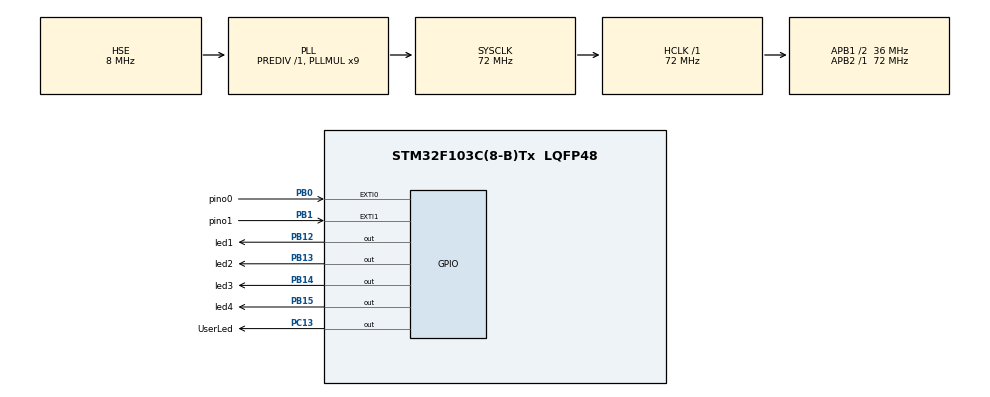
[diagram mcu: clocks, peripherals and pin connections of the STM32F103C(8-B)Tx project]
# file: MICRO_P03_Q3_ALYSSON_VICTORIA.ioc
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Mcu.Family=STM32F1
Mcu.Name=STM32F103C(8-B)Tx
Mcu.Package=LQFP48
NVIC.EXTI0_IRQn=true\:0\:0\:true\:false\:true\:true\:true\:true
NVIC.EXTI1_IRQn=true\:0\:0\:true\:false\:true\:true\:true\:true
NVIC.PriorityGroup=NVIC_PRIORITYGROUP_4
PA13.Mode=Serial_Wire
PA13.Signal=SYS_JTMS-SWDIO
PA14.Mode=Serial_Wire
PA14.Signal=SYS_JTCK-SWCLK
PB0.GPIO_Label=pino0
PB0.GPIO_ModeDefaultEXTI=GPIO_MODE_IT_FALLING
PB0.GPIO_PuPd=GPIO_PULLUP
PB0.Signal=GPXTI0
PB1.GPIO_Label=pino1
PB1.GPIO_ModeDefaultEXTI=GPIO_MODE_IT_FALLING
PB1.GPIO_PuPd=GPIO_PULLUP
PB1.Signal=GPXTI1
PB12.GPIO_Label=led1
PB12.GPIO_Speed=GPIO_SPEED_FREQ_LOW
PB12.PinState=GPIO_PIN_SET
PB12.Signal=GPIO_Output
PB13.GPIO_Label=led2
PB13.GPIO_Speed=GPIO_SPEED_FREQ_LOW
PB13.PinState=GPIO_PIN_SET
PB13.Signal=GPIO_Output
PB14.GPIO_Label=led3
PB14.GPIO_Speed=GPIO_SPEED_FREQ_LOW
PB14.PinState=GPIO_PIN_SET
PB14.Signal=GPIO_Output
PB15.GPIO_Label=led4
PB15.GPIO_Speed=GPIO_SPEED_FREQ_LOW
PB15.PinState=GPIO_PIN_SET
PB15.Signal=GPIO_Output
PC13-TAMPER-RTC.GPIO_Label=UserLed
PC13-TAMPER-RTC.PinState=GPIO_PIN_SET
PC13-TAMPER-RTC.Signal=GPIO_Output
PD0-OSC_IN.Mode=HSE-External-Oscillator
PD0-OSC_IN.Signal=RCC_OSC_IN
PD1-OSC_OUT.Mode=HSE-External-Oscillator
PD1-OSC_OUT.Signal=RCC_OSC_OUT
ProjectManager.HeapSize=0x200
ProjectManager.StackSize=0x400
ProjectManager.TargetToolchain=STM32CubeIDE
RCC.AHBFreq_Value=72000000
RCC.APB1CLKDivider=RCC_HCLK_DIV2
RCC.APB1Freq_Value=36000000
RCC.APB1TimFreq_Value=72000000
RCC.APB2Freq_Value=72000000
RCC.APB2TimFreq_Value=72000000
RCC.HCLKFreq_Value=72000000
RCC.PLLMUL=RCC_PLL_MUL9
RCC.PLLSourceVirtual=RCC_PLLSOURCE_HSE
RCC.SYSCLKFreq_VALUE=72000000
RCC.SYSCLKSource=RCC_SYSCLKSOURCE_PLLCLK
RCC.USBFreq_Value=72000000
board=custom

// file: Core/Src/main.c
/* USER CODE BEGIN Header */
/**
  ******************************************************************************
  * @file           : main.c
  * @brief          : Questão 3 - Construindo Conditions Flags
  * @author         : Alysson Lucas Pontes Cavalcante da Silva e Maria Victória Martins Neves
  * @date           : 22/04/2026
  * @details        : Utilização de funções e interrupção para acionamento de Flags.
  ******************************************************************************
  */
/* USER CODE END Header */
#include "main.h"

/* USER CODE BEGIN Includes */

#include "condition_flag.h"

/* USER CODE END Includes */

void SystemClock_Config(void);
static void MX_GPIO_Init(void);
/* USER CODE BEGIN PFP */
/* Prototipação das funções criadas */
void Funcao_CheckFlags(uint32_t tempo_atual);
void UserLed(uint32_t tempo_atual, uint32_t *time_UserLed);
void Estado_LED3(uint32_t tempo_atual, uint32_t *time3, uint32_t *time3seg);
void Estado_LED4(uint32_t tempo_atual, uint32_t *time4, uint32_t *time6seg);
/* USER CODE END PFP */

int main(void)
{

  /* USER CODE BEGIN 1 */
  uint32_t tempo_atual = HAL_GetTick(); // Atualiza o tempo atual em milissegundos
  uint32_t time_UserLed = tempo_atual; //Controlar o tempo do Userled.
  /* USER CODE END 1 */

  /* MCU Configuration--------------------------------------------------------*/

  /* Reset of all peripherals, Initializes the Flash interface and the Systick. */
  HAL_Init();

  /* Configure the system clock */
  SystemClock_Config();

  /* Initialize all configured peripherals */
  MX_GPIO_Init();

  /* Infinite loop */
  /* USER CODE BEGIN WHILE */
  while (1)
  {
	  tempo_atual = HAL_GetTick(); // Atualiza o tempo atual em milisegundos.
	  //Função Userled. Pisca periodicamente 50ms acesso e 1950ms apagado.
	  UserLed(tempo_atual, &time_UserLed);
	  //Função para check das flags key1 e key2
	  Funcao_CheckFlags(tempo_atual);
    /* USER CODE END WHILE */

  }
}

void SystemClock_Config(void)
{
  RCC_OscInitTypeDef RCC_OscInitStruct = {0};
  RCC_ClkInitTypeDef RCC_ClkInitStruct = {0};

  /** Initializes the RCC Oscillators according to the specified parameters
  * in the RCC_OscInitTypeDef structure.
  */
  RCC_OscInitStruct.OscillatorType = RCC_OSCILLATORTYPE_HSE;
  RCC_OscInitStruct.HSEState = RCC_HSE_ON;
  RCC_OscInitStruct.HSEPredivValue = RCC_HSE_PREDIV_DIV1;
  RCC_OscInitStruct.HSIState = RCC_HSI_ON;
  RCC_OscInitStruct.PLL.PLLState = RCC_PLL_ON;
  RCC_OscInitStruct.PLL.PLLSource = RCC_PLLSOURCE_HSE;
  RCC_OscInitStruct.PLL.PLLMUL = RCC_PLL_MUL9;
  if (HAL_RCC_OscConfig(&RCC_OscInitStruct) != HAL_OK)
  {
    Error_Handler();
  }

  /** Initializes the CPU, AHB and APB buses clocks
  */
  RCC_ClkInitStruct.ClockType = RCC_CLOCKTYPE_HCLK|RCC_CLOCKTYPE_SYSCLK
                              |RCC_CLOCKTYPE_PCLK1|RCC_CLOCKTYPE_PCLK2;
  RCC_ClkInitStruct.SYSCLKSource = RCC_SYSCLKSOURCE_PLLCLK;
  RCC_ClkInitStruct.AHBCLKDivider = RCC_SYSCLK_DIV1;
  RCC_ClkInitStruct.APB1CLKDivider = RCC_HCLK_DIV2;
  RCC_ClkInitStruct.APB2CLKDivider = RCC_HCLK_DIV1;

  if (HAL_RCC_ClockConfig(&RCC_ClkInitStruct, FLASH_LATENCY_2) != HAL_OK)
  {
    Error_Handler();
  }
}

static void MX_GPIO_Init(void)
{
  GPIO_InitTypeDef GPIO_InitStruct = {0};

  /* GPIO Ports Clock Enable */
  __HAL_RCC_GPIOC_CLK_ENABLE();
  __HAL_RCC_GPIOD_CLK_ENABLE();
  __HAL_RCC_GPIOB_CLK_ENABLE();
  __HAL_RCC_GPIOA_CLK_ENABLE();

  /*Configure GPIO pin Output Level */
  HAL_GPIO_WritePin(UserLed_GPIO_Port, UserLed_Pin, GPIO_PIN_SET);

  /*Configure GPIO pin Output Level */
  HAL_GPIO_WritePin(GPIOB, led1_Pin|led2_Pin|led3_Pin|led4_Pin, GPIO_PIN_SET);

  /*Configure GPIO pin : UserLed_Pin */
  GPIO_InitStruct.Pin = UserLed_Pin;
  GPIO_InitStruct.Mode = GPIO_MODE_OUTPUT_PP;
  GPIO_InitStruct.Pull = GPIO_NOPULL;
  GPIO_InitStruct.Speed = GPIO_SPEED_FREQ_LOW;
  HAL_GPIO_Init(UserLed_GPIO_Port, &GPIO_InitStruct);

  /*Configure GPIO pins : pino0_Pin pino1_Pin */
  GPIO_InitStruct.Pin = pino0_Pin|pino1_Pin;
  GPIO_InitStruct.Mode = GPIO_MODE_IT_FALLING;
  GPIO_InitStruct.Pull = GPIO_PULLUP;
  HAL_GPIO_Init(GPIOB, &GPIO_InitStruct);

  /*Configure GPIO pins : led1_Pin led2_Pin led3_Pin led4_Pin */
  GPIO_InitStruct.Pin = led1_Pin|led2_Pin|led3_Pin|led4_Pin;
  GPIO_InitStruct.Mode = GPIO_MODE_OUTPUT_PP;
  GPIO_InitStruct.Pull = GPIO_NOPULL;
  GPIO_InitStruct.Speed = GPIO_SPEED_FREQ_LOW;
  HAL_GPIO_Init(GPIOB, &GPIO_InitStruct);

  /* EXTI interrupt init*/
  HAL_NVIC_SetPriority(EXTI0_IRQn, 0, 0);
  HAL_NVIC_EnableIRQ(EXTI0_IRQn);

  HAL_NVIC_SetPriority(EXTI1_IRQn, 0, 0);
  HAL_NVIC_EnableIRQ(EXTI1_IRQn);

}

/* USER CODE BEGIN 4 */

/**
  * @brief  Callback de tratamento de interrupção externa (EXTI) acionada pelos botões.
  * Inverte o estado dos LEDs 1 e 2 e seta as flags correspondentes (key1 e key2).
  * @param  GPIO_Pin Especifica o pino que gerou a interrupção.
  * @retval None
  */
void HAL_GPIO_EXTI_Callback(uint16_t GPIO_Pin)
{

	/* Verifica se a interrupção foi gerada pelo pino do SW01 */
	//interrupção do botão 1 (pressionado) -> Inverte led1 e Seta Flag1

	  if (GPIO_Pin == pino0_Pin)
	  {
		/* Inverte o estado do LED D1 */
	    HAL_GPIO_TogglePin(led1_GPIO_Port, led1_Pin);
	   //Seta a Flag1.
	    Set_Flag_key1();
	  }

	  /* Verifica se a interrupção foi gerada pelo pino do SW02 */
	  //interrupção do botão 2 (pressionado) -> Inverte led2 e Seta Flag2
	  if (GPIO_Pin == pino1_Pin)
	  {
	    /* Inverte o estado do LED D2 */
	    HAL_GPIO_TogglePin(led2_GPIO_Port, led2_Pin);
	    //Seta a Flag2.
	    Set_Flag_key2();
	  }

}
/**
  * @brief  Verifica o status das flags de condição e inicializa os temporizadores.
  * Atua como coordenadora, disparando as rotinas dos LEDs 3 e 4 quando as flags estão ativas.
  * @param  tempo_atual Tempo atual do sistema em milissegundos fornecido pelo SysTick.
  * @retval None
  */
void Funcao_CheckFlags(uint32_t tempo_atual)
{

static uint32_t time3 = 0, time3seg = 0; //Controlar o tempo Led3
static uint32_t time4 = 0, time6seg = 0; //Controlar o tempo Led4
static uint8_t executando_flag1 = 0, executando_flag2 = 0; // Variaveis para travar a captura do tempo

//Verifica o acionamento da Flag1
	  if(condition_check_key1() == START) //Se o botão 1 foi pressionado FLAG1 = 1.
	  {

		  // Captura o tempo inicial apenas na primeira vez que entra aqui
		  if(executando_flag1 == 0)
		  {
              time3seg = tempo_atual;
		      time3 = tempo_atual;
		      executando_flag1 = 1; // Trava para não atualizar mais
		  }
		  //Código de tratamento da interrupção
		   //Pisca o LED D3 com o padrão 50 ms acesso, 150 ms apagado por 3 segundos;
		   //Quando passar os 3 segundos a Flag1 é resetada.
		  	Estado_LED3(tempo_atual, &time3, &time3seg);
		  //Fim do código de tratamento da interrupção
	  } else
	  {
		  executando_flag1 = 0; // Prepara para a próxima vez que apertar o botão
	  }

	  // Check da flag do botão 2
	  if(condition_check_key2() == START)
	  {

		  // Captura o tempo inicial apenas na primeira vez que entra aqui
		  if(executando_flag2 == 0)
		  {
              time6seg = tempo_atual;
		      time4 = tempo_atual;
		      executando_flag2 = 1; // Trava para não atualizar mais
		  }
		  //Código de tratamento da interrupção
		  //Pisca o LED D4 com o padrão 100 ms acesso, 500 ms apagado por 6 segundos;
	  	  //Quando passar os 6 segundos a Flag2 é resetada.
		  Estado_LED4(tempo_atual, &time4, &time6seg);
		  //Fim do código de tratamento da interrupção
	  } else
	  {
		  executando_flag2 = 0; // Prepara para a próxima vez que apertar o botão
	  }
}
/**
  * @brief  Máquina de estados não-bloqueante que controla o pisca-pisca do LED D3.
  * Pisca no padrão 50ms aceso e 150ms apagado durante 3 segundos. Após o tempo, reseta a flag 1.
  * @param  tempo_atual Tempo atual do sistema em milissegundos.
  * @param  time3 Ponteiro para a variável que controla a frequência do pisca (50ms/150ms).
  * @param  time3seg Ponteiro para a variável que controla o tempo total de execução (3 segundos).
  * @retval None
  */
void Estado_LED3(uint32_t tempo_atual, uint32_t *time3, uint32_t *time3seg)
{
	if ((tempo_atual - *time3seg) <=3000) //Pisca o Led3 por 3 segundos.
	{
		// LED 3: 50 ms aceso, 150 ms apagado por 3 segundos
		if (HAL_GPIO_ReadPin(led3_GPIO_Port, led3_Pin) == GPIO_PIN_SET)
		{ // Se apagado
			if ((tempo_atual - *time3) >= 150)
			{ //Espera 150ms apagado para acender.
				HAL_GPIO_WritePin(led3_GPIO_Port, led3_Pin, GPIO_PIN_RESET);
				*time3 = tempo_atual; //reseta a contagem do time3
			}
		} else
		{ // Se aceso
			if ((tempo_atual - *time3) >= 50)
			{ //espera 50ms aceso para apagar.
				HAL_GPIO_WritePin(led3_GPIO_Port, led3_Pin, GPIO_PIN_SET);
				*time3 = tempo_atual; //reseta a contagem do time3
			}
		}
	} else 	//Quando passar os 3 segundos reseta a flag1
	{
		HAL_GPIO_WritePin(led3_GPIO_Port, led3_Pin, GPIO_PIN_SET); // Garante que o led3 termine apagado
		Reset_Flag_key1();
	}
}
/**
  * @brief  Máquina de estados não-bloqueante que controla o pisca-pisca do LED D4.
  * Pisca no padrão 100ms aceso e 500ms apagado durante 6 segundos. Após o tempo, reseta a flag 2.
  * @param  tempo_atual Tempo atual do sistema em milissegundos.
  * @param  time4 Ponteiro para a variável que controla a frequência do pisca (100ms/500ms).
  * @param  time6seg Ponteiro para a variável que controla o tempo total de execução (6 segundos).
  * @retval None
  */
void Estado_LED4(uint32_t tempo_atual, uint32_t *time4, uint32_t *time6seg)
{
	if ((tempo_atual - *time6seg) <=6000) //Pisca o Led3 por 6 segundos.
	{
		// LED 4: 100 ms aceso, 500 ms apagado por 6 segundos
		if (HAL_GPIO_ReadPin(led4_GPIO_Port, led4_Pin) == GPIO_PIN_SET)
		{ // Se apagado
			if ((tempo_atual - *time4) >= 500)
			{ //Espera 500ms apagado para acender.
				HAL_GPIO_WritePin(led4_GPIO_Port, led4_Pin, GPIO_PIN_RESET);
				*time4 = tempo_atual; //reseta a contagem do time4
			}
		} else
		{ // Se aceso
			if ((tempo_atual - *time4) >= 100)
			{ //espera 100ms aceso para apagar.
				HAL_GPIO_WritePin(led4_GPIO_Port, led4_Pin, GPIO_PIN_SET);
				*time4 = tempo_atual; //reseta a contagem do time4
			}
		}
	} else //Quando passar os 6 segundos reseta a flag2
	{
		Reset_Flag_key2();
		HAL_GPIO_WritePin(led4_GPIO_Port, led4_Pin, GPIO_PIN_SET); // Garante que o led4 termine apagado
	}
}

/**
  * @brief  Máquina de estados não-bloqueante responsável por indicar o funcionamento do sistema (Heartbeat).
  * Pisca o UserLed de forma contínua no padrão 50ms aceso e 1950ms apagado.
  * @param  tempo_atual Tempo atual do sistema em milissegundos.
  * @param  time_UserLed Ponteiro para a variável que gerencia a transição de estados do LED.
  * @retval None
  */
void UserLed(uint32_t tempo_atual, uint32_t *time_UserLed)
{
    if (HAL_GPIO_ReadPin(UserLed_GPIO_Port, UserLed_Pin) == GPIO_PIN_SET) // Se apagado
    {
        if ((tempo_atual - *time_UserLed) >= 1950)
        {
            HAL_GPIO_WritePin(UserLed_GPIO_Port, UserLed_Pin, GPIO_PIN_RESET);
            *time_UserLed = tempo_atual;
        }
    } else // Se aceso
    {
        if ((tempo_atual - *time_UserLed) >= 50)
        {
            HAL_GPIO_WritePin(UserLed_GPIO_Port, UserLed_Pin, GPIO_PIN_SET);
            *time_UserLed = tempo_atual;
        }
    }
}

/* USER CODE END 4 */

void Error_Handler(void)
{
  __disable_irq();
  while (1)
  {
  }
}
